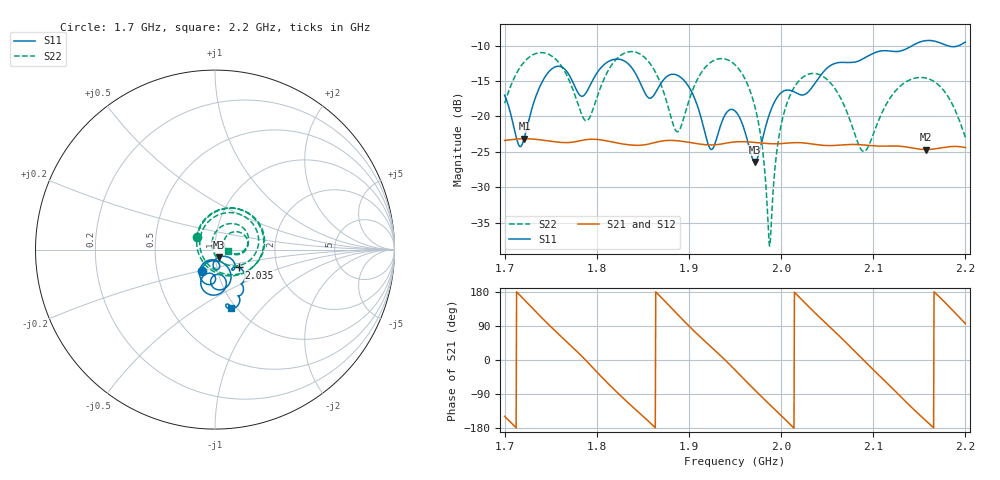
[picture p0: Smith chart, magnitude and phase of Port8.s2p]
# Hz S RI R 50
! CMT, CMT808U, 21440046, 21.4.3/4
! Date: 11/20/2025 11:36:14 PM
! Data: Format (Calibration Info)
! Freq	S11:Re/Im(F2)	S41:Re/Im(F2)	S14:Re/Im(F2)	S44:Re/Im(F2)
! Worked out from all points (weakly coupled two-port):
!   1001 points, 1.7 GHz to 2.2 GHz, reference 50 ohm
!   highest |S21| = -23.14 dB at 1.722 GHz (marker M1); lowest = -24.7 dB at 2.158 GHz (marker M2)
!   lowest |S11| = -26.4 dB at 1.972 GHz (marker M3), VSWR 1.10, Z = 51.8 - j4.52 ohm
!   |S11| at or under -10 dB: start of sweep to 2.143 GHz; 2.18 GHz to 2.193 GHz (12.91 MHz wide, 0.59 % of centre)
!   |S22| runs from -38.3 to -10.9 dB; largest |S21 - S12| = 0.00096
!   S11 on the Smith chart (normalised r, x): 1.7 GHz: 0.84, -0.21; 2.035 GHz: 1.27, -0.26; 2.2 GHz: 0.95, -0.69
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1.7e9  -0.0734 -0.1206  -0.0577 -0.0352  -0.0584 -0.0347  -0.1022 0.0701
1.7215e9  0.026 -0.066  -0.0647 0.0256  -0.0647 0.0264  0.0753 0.2316
1.752e9  0.0653 -0.2084  0.00763 0.0661  0.00839 0.0663  0.2642 -0.0108
1.7835e9  0.0104 -0.1383  0.0665 0.0126  0.0669 0.0119  -0.0464 -0.0928
1.8205e9  -0.00281 -0.2537  0.00928 -0.0646  0.00853 -0.0649  0.0979 0.2306
1.844e9  -0.0783 -0.1734  -0.0442 -0.0442  -0.0448 -0.0438  0.2764 0.053
1.867e9  0.00302 -0.1603  -0.0658 0.00864  -0.0659 0.00947  0.1241 -0.137
1.888e9  -0.0615 -0.1844  -0.0329 0.0587  -0.0323 0.0593  -0.0741 -0.0245
1.9235e9  -0.0136 -0.0571  0.0511 0.0367  0.0516 0.0361  0.1395 0.1959
1.95e9  0.000962 -0.1093  0.0593 -0.0292  0.059 -0.03  0.2313 -0.00878
1.9715e9  0.0196 -0.0435  0.0121 -0.0644  0.0113 -0.0647  0.0789 -0.0878
1.9795e9  0.0564 -0.0378  -0.00954 -0.0641  -0.0104 -0.0641  0.0218 -0.0572
1.9875e9  0.0906 -0.0518  -0.0293 -0.0571  -0.0302 -0.0568  -0.0114 -0.00415
1.9955e9  0.11 -0.0793  -0.0459 -0.0448  -0.0466 -0.0442  -0.0142 0.0559
2.0035e9  0.1096 -0.105  -0.0582 -0.0278  -0.0588 -0.0271  0.0112 0.1072
2.0335e9  0.1266 -0.0979  -0.0429 0.0474  -0.0422 0.048  0.1726 0.1029
2.035e9  0.1317 -0.0996  -0.0397 0.0498  -0.0391 0.0504  0.1767 0.096
2.06e9  0.161 -0.1755  0.0205 0.059  0.0213 0.0588  0.1513 -0.0122
2.089e9  0.155 -0.2028  0.0629 0.000806  0.063 2.26e-05  0.0546 0.0153
2.117e9  0.1326 -0.2575  0.0257 -0.0562  0.025 -0.0566  0.09 0.0949
2.1575e9  0.1098 -0.3249  -0.0552 -0.019  -0.0554 -0.0182  0.1836 0.0315
2.2e9  0.087 -0.3236  -0.0063 0.0599  -0.00551 0.06  0.0709 -0.00655
